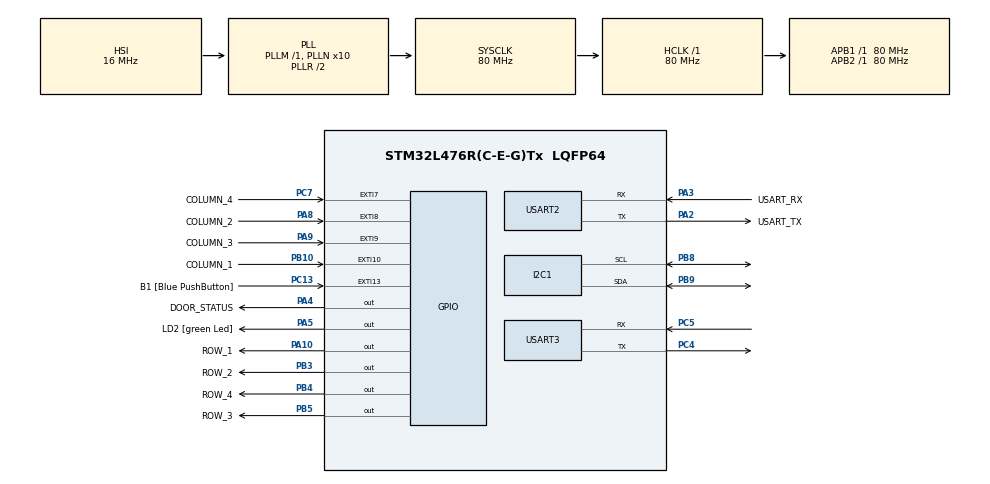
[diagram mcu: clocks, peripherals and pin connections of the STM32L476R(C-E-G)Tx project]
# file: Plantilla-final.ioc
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I2C1.Timing=0x10D19CE4
Mcu.Family=STM32L4
Mcu.Name=STM32L476R(C-E-G)Tx
Mcu.Package=LQFP64
NVIC.EXTI15_10_IRQn=true\:0\:0\:false\:false\:true\:true\:true\:true
NVIC.EXTI9_5_IRQn=true\:0\:0\:false\:false\:true\:true\:true\:true
NVIC.I2C1_ER_IRQn=true\:0\:0\:false\:false\:true\:true\:true\:true
NVIC.I2C1_EV_IRQn=true\:0\:0\:false\:false\:true\:true\:true\:true
NVIC.PriorityGroup=NVIC_PRIORITYGROUP_4
NVIC.RCC_IRQn=true\:0\:0\:false\:false\:true\:true\:false\:true
NVIC.USART2_IRQn=true\:0\:0\:false\:false\:true\:true\:true\:true
NVIC.USART3_IRQn=true\:0\:0\:false\:false\:true\:true\:true\:true
PA10.GPIO_Label=ROW_1
PA10.GPIO_ModeDefaultOutputPP=GPIO_MODE_OUTPUT_OD
PA10.GPIO_PuPd=GPIO_NOPULL
PA10.GPIO_Speed=GPIO_SPEED_FREQ_VERY_HIGH
PA10.PinState=GPIO_PIN_RESET
PA10.Signal=GPIO_Output
PA13\ (JTMS-SWDIO).GPIO_Label=TMS
PA13\ (JTMS-SWDIO).Mode=Serial_Wire
PA13\ (JTMS-SWDIO).Signal=SYS_JTMS-SWDIO
PA14\ (JTCK-SWCLK).GPIO_Label=TCK
PA14\ (JTCK-SWCLK).Mode=Serial_Wire
PA14\ (JTCK-SWCLK).Signal=SYS_JTCK-SWCLK
PA2.GPIO_Label=USART_TX
PA2.GPIO_Mode=GPIO_MODE_AF_PP
PA2.GPIO_PuPd=GPIO_NOPULL
PA2.GPIO_Speed=GPIO_SPEED_FREQ_VERY_HIGH
PA2.Mode=Asynchronous
PA2.Signal=USART2_TX
PA3.GPIO_Label=USART_RX
PA3.GPIO_Mode=GPIO_MODE_AF_PP
PA3.GPIO_PuPd=GPIO_NOPULL
PA3.GPIO_Speed=GPIO_SPEED_FREQ_VERY_HIGH
PA3.Mode=Asynchronous
PA3.Signal=USART2_RX
PA4.GPIO_Label=DOOR_STATUS
PA4.Signal=GPIO_Output
PA5.GPIO_Label=LD2 [green Led]
PA5.GPIO_ModeDefaultOutputPP=GPIO_MODE_OUTPUT_PP
PA5.GPIO_PuPd=GPIO_NOPULL
PA5.GPIO_Speed=GPIO_SPEED_FREQ_LOW
PA5.Signal=GPIO_Output
PA8.GPIO_Label=COLUMN_2
PA8.GPIO_ModeDefaultEXTI=GPIO_MODE_IT_FALLING
PA8.GPIO_PuPd=GPIO_PULLUP
PA8.Signal=GPXTI8
PA9.GPIO_Label=COLUMN_3
PA9.GPIO_ModeDefaultEXTI=GPIO_MODE_IT_FALLING
PA9.GPIO_PuPd=GPIO_PULLUP
PA9.Signal=GPXTI9
PB10.GPIO_Label=COLUMN_1
PB10.GPIO_ModeDefaultEXTI=GPIO_MODE_IT_FALLING
PB10.GPIO_PuPd=GPIO_PULLUP
PB10.Signal=GPXTI10
PB3\ (JTDO-TRACESWO).GPIO_Label=ROW_2
PB3\ (JTDO-TRACESWO).GPIO_ModeDefaultOutputPP=GPIO_MODE_OUTPUT_OD
PB3\ (JTDO-TRACESWO).GPIO_PuPd=GPIO_NOPULL
PB3\ (JTDO-TRACESWO).GPIO_Speed=GPIO_SPEED_FREQ_VERY_HIGH
PB3\ (JTDO-TRACESWO).PinState=GPIO_PIN_RESET
PB3\ (JTDO-TRACESWO).Signal=GPIO_Output
PB4\ (NJTRST).GPIO_Label=ROW_4
PB4\ (NJTRST).GPIO_ModeDefaultOutputPP=GPIO_MODE_OUTPUT_OD
PB4\ (NJTRST).GPIO_PuPd=GPIO_NOPULL
PB4\ (NJTRST).GPIO_Speed=GPIO_SPEED_FREQ_VERY_HIGH
PB4\ (NJTRST).PinState=GPIO_PIN_RESET
PB4\ (NJTRST).Signal=GPIO_Output
PB5.GPIO_Label=ROW_3
PB5.GPIO_ModeDefaultOutputPP=GPIO_MODE_OUTPUT_OD
PB5.GPIO_PuPd=GPIO_NOPULL
PB5.GPIO_Speed=GPIO_SPEED_FREQ_VERY_HIGH
PB5.PinState=GPIO_PIN_RESET
PB5.Signal=GPIO_Output
PB8.Mode=I2C
PB8.Signal=I2C1_SCL
PB9.Mode=I2C
PB9.Signal=I2C1_SDA
PC13.GPIO_Label=B1 [Blue PushButton]
PC13.GPIO_ModeDefaultEXTI=GPIO_MODE_IT_FALLING
PC13.GPIO_PuPd=GPIO_NOPULL
PC13.Signal=GPXTI13
PC14-OSC32_IN\ (PC14).Mode=LSE-External-Oscillator
PC14-OSC32_IN\ (PC14).Signal=RCC_OSC32_IN
PC15-OSC32_OUT\ (PC15).Mode=LSE-External-Oscillator
PC15-OSC32_OUT\ (PC15).Signal=RCC_OSC32_OUT
PC4.Mode=Asynchronous
PC4.Signal=USART3_TX
PC5.Mode=Asynchronous
PC5.Signal=USART3_RX
PC7.GPIO_Label=COLUMN_4
PC7.GPIO_ModeDefaultEXTI=GPIO_MODE_IT_FALLING
PC7.GPIO_PuPd=GPIO_PULLUP
PC7.Signal=GPXTI7
PH0-OSC_IN\ (PH0).Signal=RCC_OSC_IN
PH1-OSC_OUT\ (PH1).Signal=RCC_OSC_OUT
ProjectManager.HeapSize=0x200
ProjectManager.StackSize=0x400
ProjectManager.TargetToolchain=CMake
RCC.ADCFreq_Value=64000000
RCC.AHBFreq_Value=80000000
RCC.APB1Freq_Value=80000000
RCC.APB1TimFreq_Value=80000000
RCC.APB2Freq_Value=80000000
RCC.APB2TimFreq_Value=80000000
RCC.CortexFreq_Value=80000000
RCC.HCLKFreq_Value=80000000
RCC.HSE_VALUE=8000000
RCC.HSI_VALUE=16000000
RCC.MSI_VALUE=4000000
RCC.PLLN=10
RCC.PLLSourceVirtual=RCC_PLLSOURCE_HSI
RCC.PREFETCH_ENABLE=1
RCC.SYSCLKFreq_VALUE=80000000
RCC.SYSCLKSource=RCC_SYSCLKSOURCE_PLLCLK
RCC.USBFreq_Value=64000000
RCC.VCOOutputFreq_Value=160000000
USART2.VirtualMode-Asynchronous=VM_ASYNC
USART3.VirtualMode-Asynchronous=VM_ASYNC
board=NUCLEO-L476RG

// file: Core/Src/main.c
/* USER CODE BEGIN Header */
/**
  ******************************************************************************
  * @file           : main.c
  * @brief          : Main program body
  ******************************************************************************
  * @attention
  *
  * Copyright (c) 2025 STMicroelectronics.
  * All rights reserved.
  *
  * This software is licensed under terms that can be found in the LICENSE file
  * in the root directory of this software component.
  * If no LICENSE file comes with this software, it is provided AS-IS.
  *
  ******************************************************************************
  */
/* USER CODE END Header */
#include "main.h"

/* USER CODE BEGIN Includes */
#include "main.h"
#include "keypad.h"
#include "ring_buffer.h"
#include <string.h>
#include <stdio.h>
/* USER CODE END Includes */

/* USER CODE BEGIN PD */
#define SHOW_RB(rb, huart) show_rb(rb, huart, #rb)
/* USER CODE END PD */

I2C_HandleTypeDef hi2c1;

UART_HandleTypeDef huart2;
UART_HandleTypeDef huart3;

/* USER CODE BEGIN PV */
ring_buffer_t rb_uart;
ring_buffer_t rb_keypad;
uint8_t buffer_memory[BUFFER_CAPACITY];

/* USER CODE END PV */

void SystemClock_Config(void);
static void MX_GPIO_Init(void);
static void MX_I2C1_Init(void);
static void MX_USART2_UART_Init(void);
static void MX_USART3_UART_Init(void);

/* USER CODE BEGIN 0 */
uint32_t key_pressed_tick = 0;
uint16_t column_pressed = 0;
uint32_t debounce_tick = 0;
void HAL_GPIO_EXTI_Callback(uint16_t GPIO_Pin)
{
  if ((debounce_tick + 200) > HAL_GetTick()) {
    return;
  }
  debounce_tick = HAL_GetTick();
  key_pressed_tick = HAL_GetTick();
  column_pressed = GPIO_Pin;
}

uint8_t rx_data;
void HAL_UART_RxCpltCallback(UART_HandleTypeDef *huart)
{
    // Verificamos que la interrupción provenga de USART2
    if (huart->Instance == USART2)
    {
      ring_buffer_write(&rb_uart, rx_data);
      //HAL_UART_Transmit(&huart2, (uint8_t *)&key, 1, 1000);

      // Reiniciar la recepción para seguir recibiendo datos
      HAL_UART_Receive_IT(&huart2, &rx_data, 1);
    }
}

/**
 * @brief Muestra los elementos actuales del ring buffer por UART.
 * @param rb        Puntero a la instancia del ring buffer.
 * @param huart     Puntero al manejador de UART para la transmisión.
 * @param rb_name   Nombre de la variable del ring buffer (como cadena).
 */
void show_rb(ring_buffer_t *rb, UART_HandleTypeDef *huart, const char *rb_name) {
  uint8_t size = ring_buffer_size(rb);

  // Construir encabezado con el nombre del buffer
  char header[50];
  int header_len = snprintf(header, sizeof(header), "%s:", rb_name);
  HAL_UART_Transmit(huart, (uint8_t *)header, header_len, 1000);

  // Mostrar elementos
  for (uint8_t i = 0; i < size; i++) {
      uint8_t index = (rb->tail + i) % rb->capacity;
      HAL_UART_Transmit(huart, &rb->buffer[index], 1, 1000);
  }

  HAL_UART_Transmit(huart, (uint8_t *)"\r\n", 2, 1000);
}

uint8_t door_status = 0;
/* USER CODE END 0 */

int main(void)
{

  /* MCU Configuration--------------------------------------------------------*/

  /* Reset of all peripherals, Initializes the Flash interface and the Systick. */
  HAL_Init();

  /* USER CODE BEGIN Init */
  keypad_init();
  /* USER CODE END Init */

  /* Configure the system clock */
  SystemClock_Config();

  /* Initialize all configured peripherals */
  MX_GPIO_Init();
  MX_I2C1_Init();
  MX_USART2_UART_Init();
  MX_USART3_UART_Init();
  /* USER CODE BEGIN 2 */
  HAL_UART_Transmit(&huart2, (uint8_t *)"Hello, World\r\n", 14, HAL_MAX_DELAY);
  ring_buffer_init(&rb_uart, buffer_memory, BUFFER_CAPACITY);
  ring_buffer_init(&rb_keypad, buffer_memory, BUFFER_CAPACITY);
  /* USER CODE END 2 */

  /* Infinite loop */
  /* USER CODE BEGIN WHILE */
  while (1)
  {
    if (column_pressed != 0 && (key_pressed_tick + 5) < HAL_GetTick() ) {
      uint8_t key = keypad_scan(column_pressed);

      //Keypad coding here with key variable
      ring_buffer_write(&rb_keypad, key);
      //HAL_UART_Transmit(&huart2, (uint8_t *)&key, 1, 1000);
      SHOW_RB(&rb_keypad, &huart2);
      SHOW_RB(&rb_uart, &huart2);

      HAL_UART_Receive_IT(&huart2, &rx_data, 1);

      column_pressed = 0;
    }
    /* USER CODE END WHILE */

  }
}

void SystemClock_Config(void)
{
  RCC_OscInitTypeDef RCC_OscInitStruct = {0};
  RCC_ClkInitTypeDef RCC_ClkInitStruct = {0};

  /** Configure the main internal regulator output voltage
  */
  if (HAL_PWREx_ControlVoltageScaling(PWR_REGULATOR_VOLTAGE_SCALE1) != HAL_OK)
  {
    Error_Handler();
  }

  /** Initializes the RCC Oscillators according to the specified parameters
  * in the RCC_OscInitTypeDef structure.
  */
  RCC_OscInitStruct.OscillatorType = RCC_OSCILLATORTYPE_HSI;
  RCC_OscInitStruct.HSIState = RCC_HSI_ON;
  RCC_OscInitStruct.HSICalibrationValue = RCC_HSICALIBRATION_DEFAULT;
  RCC_OscInitStruct.PLL.PLLState = RCC_PLL_ON;
  RCC_OscInitStruct.PLL.PLLSource = RCC_PLLSOURCE_HSI;
  RCC_OscInitStruct.PLL.PLLM = 1;
  RCC_OscInitStruct.PLL.PLLN = 10;
  RCC_OscInitStruct.PLL.PLLP = RCC_PLLP_DIV7;
  RCC_OscInitStruct.PLL.PLLQ = RCC_PLLQ_DIV2;
  RCC_OscInitStruct.PLL.PLLR = RCC_PLLR_DIV2;
  if (HAL_RCC_OscConfig(&RCC_OscInitStruct) != HAL_OK)
  {
    Error_Handler();
  }

  /** Initializes the CPU, AHB and APB buses clocks
  */
  RCC_ClkInitStruct.ClockType = RCC_CLOCKTYPE_HCLK|RCC_CLOCKTYPE_SYSCLK
                              |RCC_CLOCKTYPE_PCLK1|RCC_CLOCKTYPE_PCLK2;
  RCC_ClkInitStruct.SYSCLKSource = RCC_SYSCLKSOURCE_PLLCLK;
  RCC_ClkInitStruct.AHBCLKDivider = RCC_SYSCLK_DIV1;
  RCC_ClkInitStruct.APB1CLKDivider = RCC_HCLK_DIV1;
  RCC_ClkInitStruct.APB2CLKDivider = RCC_HCLK_DIV1;

  if (HAL_RCC_ClockConfig(&RCC_ClkInitStruct, FLASH_LATENCY_4) != HAL_OK)
  {
    Error_Handler();
  }
}

static void MX_I2C1_Init(void)
{

  hi2c1.Instance = I2C1;
  hi2c1.Init.Timing = 0x10D19CE4;
  hi2c1.Init.OwnAddress1 = 0;
  hi2c1.Init.AddressingMode = I2C_ADDRESSINGMODE_7BIT;
  hi2c1.Init.DualAddressMode = I2C_DUALADDRESS_DISABLE;
  hi2c1.Init.OwnAddress2 = 0;
  hi2c1.Init.OwnAddress2Masks = I2C_OA2_NOMASK;
  hi2c1.Init.GeneralCallMode = I2C_GENERALCALL_DISABLE;
  hi2c1.Init.NoStretchMode = I2C_NOSTRETCH_DISABLE;
  if (HAL_I2C_Init(&hi2c1) != HAL_OK)
  {
    Error_Handler();
  }

  /** Configure Analogue filter
  */
  if (HAL_I2CEx_ConfigAnalogFilter(&hi2c1, I2C_ANALOGFILTER_ENABLE) != HAL_OK)
  {
    Error_Handler();
  }

  /** Configure Digital filter
  */
  if (HAL_I2CEx_ConfigDigitalFilter(&hi2c1, 0) != HAL_OK)
  {
    Error_Handler();
  }

}

static void MX_USART2_UART_Init(void)
{

  huart2.Instance = USART2;
  huart2.Init.BaudRate = 115200;
  huart2.Init.WordLength = UART_WORDLENGTH_8B;
  huart2.Init.StopBits = UART_STOPBITS_1;
  huart2.Init.Parity = UART_PARITY_NONE;
  huart2.Init.Mode = UART_MODE_TX_RX;
  huart2.Init.HwFlowCtl = UART_HWCONTROL_NONE;
  huart2.Init.OverSampling = UART_OVERSAMPLING_16;
  huart2.Init.OneBitSampling = UART_ONE_BIT_SAMPLE_DISABLE;
  huart2.AdvancedInit.AdvFeatureInit = UART_ADVFEATURE_NO_INIT;
  if (HAL_UART_Init(&huart2) != HAL_OK)
  {
    Error_Handler();
  }

}

static void MX_USART3_UART_Init(void)
{

  huart3.Instance = USART3;
  huart3.Init.BaudRate = 115200;
  huart3.Init.WordLength = UART_WORDLENGTH_8B;
  huart3.Init.StopBits = UART_STOPBITS_1;
  huart3.Init.Parity = UART_PARITY_NONE;
  huart3.Init.Mode = UART_MODE_TX_RX;
  huart3.Init.HwFlowCtl = UART_HWCONTROL_NONE;
  huart3.Init.OverSampling = UART_OVERSAMPLING_16;
  huart3.Init.OneBitSampling = UART_ONE_BIT_SAMPLE_DISABLE;
  huart3.AdvancedInit.AdvFeatureInit = UART_ADVFEATURE_NO_INIT;
  if (HAL_UART_Init(&huart3) != HAL_OK)
  {
    Error_Handler();
  }

}

static void MX_GPIO_Init(void)
{
  GPIO_InitTypeDef GPIO_InitStruct = {0};

  /* GPIO Ports Clock Enable */
  __HAL_RCC_GPIOC_CLK_ENABLE();
  __HAL_RCC_GPIOH_CLK_ENABLE();
  __HAL_RCC_GPIOA_CLK_ENABLE();
  __HAL_RCC_GPIOB_CLK_ENABLE();

  /*Configure GPIO pin Output Level */
  HAL_GPIO_WritePin(GPIOA, DOOR_STATUS_Pin|LD2_Pin|ROW_1_Pin, GPIO_PIN_RESET);

  /*Configure GPIO pin Output Level */
  HAL_GPIO_WritePin(GPIOB, ROW_2_Pin|ROW_4_Pin|ROW_3_Pin, GPIO_PIN_RESET);

  /*Configure GPIO pin : B1_Pin */
  GPIO_InitStruct.Pin = B1_Pin;
  GPIO_InitStruct.Mode = GPIO_MODE_IT_FALLING;
  GPIO_InitStruct.Pull = GPIO_NOPULL;
  HAL_GPIO_Init(B1_GPIO_Port, &GPIO_InitStruct);

  /*Configure GPIO pins : DOOR_STATUS_Pin LD2_Pin */
  GPIO_InitStruct.Pin = DOOR_STATUS_Pin|LD2_Pin;
  GPIO_InitStruct.Mode = GPIO_MODE_OUTPUT_PP;
  GPIO_InitStruct.Pull = GPIO_NOPULL;
  GPIO_InitStruct.Speed = GPIO_SPEED_FREQ_LOW;
  HAL_GPIO_Init(GPIOA, &GPIO_InitStruct);

  /*Configure GPIO pin : COLUMN_1_Pin */
  GPIO_InitStruct.Pin = COLUMN_1_Pin;
  GPIO_InitStruct.Mode = GPIO_MODE_IT_FALLING;
  GPIO_InitStruct.Pull = GPIO_PULLUP;
  HAL_GPIO_Init(COLUMN_1_GPIO_Port, &GPIO_InitStruct);

  /*Configure GPIO pin : COLUMN_4_Pin */
  GPIO_InitStruct.Pin = COLUMN_4_Pin;
  GPIO_InitStruct.Mode = GPIO_MODE_IT_FALLING;
  GPIO_InitStruct.Pull = GPIO_PULLUP;
  HAL_GPIO_Init(COLUMN_4_GPIO_Port, &GPIO_InitStruct);

  /*Configure GPIO pins : COLUMN_2_Pin COLUMN_3_Pin */
  GPIO_InitStruct.Pin = COLUMN_2_Pin|COLUMN_3_Pin;
  GPIO_InitStruct.Mode = GPIO_MODE_IT_FALLING;
  GPIO_InitStruct.Pull = GPIO_PULLUP;
  HAL_GPIO_Init(GPIOA, &GPIO_InitStruct);

  /*Configure GPIO pin : ROW_1_Pin */
  GPIO_InitStruct.Pin = ROW_1_Pin;
  GPIO_InitStruct.Mode = GPIO_MODE_OUTPUT_OD;
  GPIO_InitStruct.Pull = GPIO_NOPULL;
  GPIO_InitStruct.Speed = GPIO_SPEED_FREQ_VERY_HIGH;
  HAL_GPIO_Init(ROW_1_GPIO_Port, &GPIO_InitStruct);

  /*Configure GPIO pins : ROW_2_Pin ROW_4_Pin ROW_3_Pin */
  GPIO_InitStruct.Pin = ROW_2_Pin|ROW_4_Pin|ROW_3_Pin;
  GPIO_InitStruct.Mode = GPIO_MODE_OUTPUT_OD;
  GPIO_InitStruct.Pull = GPIO_NOPULL;
  GPIO_InitStruct.Speed = GPIO_SPEED_FREQ_VERY_HIGH;
  HAL_GPIO_Init(GPIOB, &GPIO_InitStruct);

  /* EXTI interrupt init*/
  HAL_NVIC_SetPriority(EXTI9_5_IRQn, 0, 0);
  HAL_NVIC_EnableIRQ(EXTI9_5_IRQn);

  HAL_NVIC_SetPriority(EXTI15_10_IRQn, 0, 0);
  HAL_NVIC_EnableIRQ(EXTI15_10_IRQn);

}

void Error_Handler(void)
{
  __disable_irq();
  while (1)
  {
  }
}
